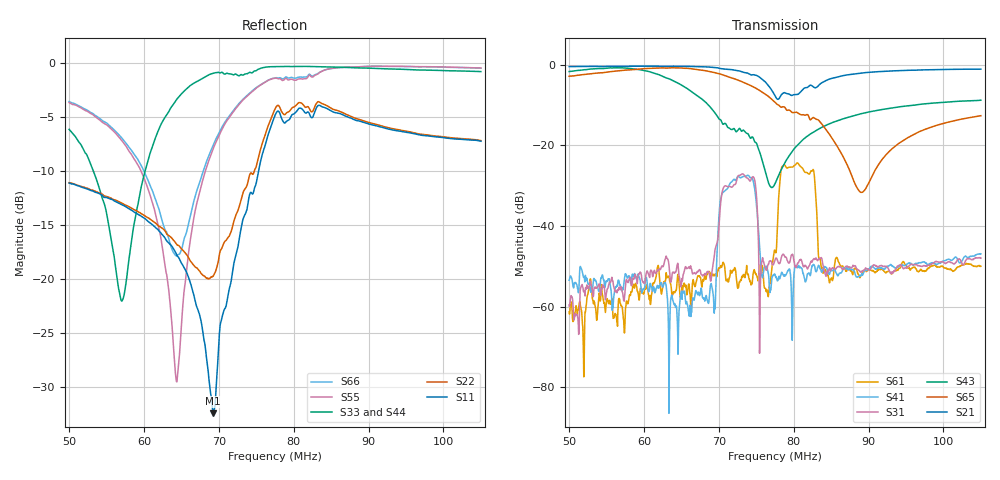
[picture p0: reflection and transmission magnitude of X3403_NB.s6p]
! Matrix data file written by TouchstoneData, EPCOS AG
! FILENAME: "X3403_NB.s6p"
! COMMENT: "(X3403_NB.s6p)"
! INFO: nport=6, nfreq=1601
! DATE: "Tue May 10 10:57:56 2011"
! USER: "Mohamed El Hakiki"
! port | pin | signal
!  1  |  10  | input
!  2  |  12  | input balanced
!  3  |  6  |  Output TDM1
!  4  |  8  |  Output TDM1, balanced
!  5  |  4 |  Output TDM2
!  6  |  3  |  Output TDM2, balanced
# MHZ S RI R 50
! freq  reS11 imS11  reS12 imS12  reS13 imS13  reS14 imS14  ...
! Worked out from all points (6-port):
!   1601 points, 50 MHz to 105 MHz, reference 50 ohm
!   strongest paths, dB at 50 MHz, 63.75 MHz, 77.5 MHz, 91.25 MHz, 105 MHz:
!     S21: -0.5, -0.4, -7.7, -1.7, -1.1
!     S65: -2.9, -0.8, -9.3, -25.0, -12.7
!     S43: -1.7, -3.9, -29.5, -11.3, -8.8
!     S31: -59.6, -52.1, -48.5, -50.2, -48.0
!     S41: -53.5, -57.2, -52.1, -50.5, -46.9
!     S61: -61.3, -57.3, -46.2, -50.9, -50.0
!   lowest |S11| = -32.5 dB at 69.25 MHz (marker M1), VSWR 1.05, Z = 51.9 - j1.52 ohm
!   |S11| at or under -10 dB: start of sweep to 75.31 MHz
